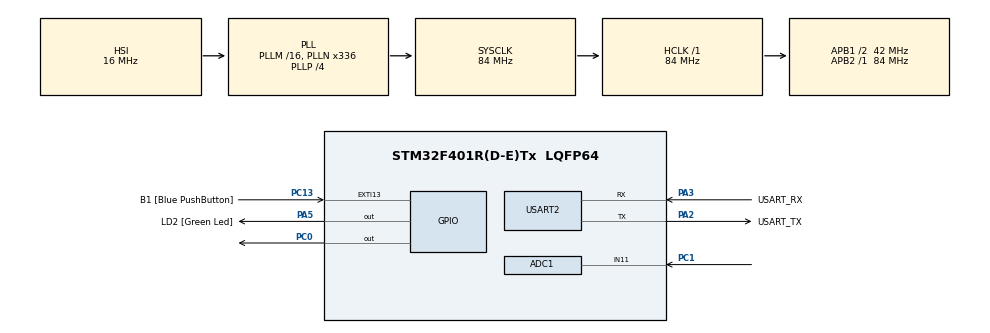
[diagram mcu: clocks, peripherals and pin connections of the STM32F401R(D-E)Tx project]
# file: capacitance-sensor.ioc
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ADC1.Channel-0\#ChannelRegularConversion=ADC_CHANNEL_11
ADC1.ContinuousConvMode=ENABLE
ADC1.NbrOfConversionFlag=1
ADC1.Rank-0\#ChannelRegularConversion=1
ADC1.SamplingTime-0\#ChannelRegularConversion=ADC_SAMPLETIME_3CYCLES
ADC1.master=1
FREERTOS.Tasks01=defaultTask,24,128,StartDefaultTask,Default,NULL,Dynamic,NULL,NULL
FREERTOS.configUSE_NEWLIB_REENTRANT=1
Mcu.Family=STM32F4
Mcu.Name=STM32F401R(D-E)Tx
Mcu.Package=LQFP64
NVIC.ADC_IRQn=true\:5\:0\:false\:false\:true\:true\:true\:true\:true
NVIC.PriorityGroup=NVIC_PRIORITYGROUP_4
NVIC.TIM1_BRK_TIM9_IRQn=true\:15\:0\:false\:false\:true\:false\:false\:true\:true
NVIC.TimeBase=TIM1_BRK_TIM9_IRQn
NVIC.TimeBaseIP=TIM9
PA13.GPIO_Label=TMS
PA13.Mode=Trace_Asynchronous_SW
PA13.Signal=SYS_JTMS-SWDIO
PA14.GPIO_Label=TCK
PA14.Mode=Trace_Asynchronous_SW
PA14.Signal=SYS_JTCK-SWCLK
PA2.GPIO_Label=USART_TX
PA2.GPIO_Mode=GPIO_MODE_AF_PP
PA2.GPIO_PuPd=GPIO_NOPULL
PA2.GPIO_Speed=GPIO_SPEED_FREQ_LOW
PA2.Mode=Asynchronous
PA2.Signal=USART2_TX
PA3.GPIO_Label=USART_RX
PA3.GPIO_Mode=GPIO_MODE_AF_PP
PA3.GPIO_PuPd=GPIO_NOPULL
PA3.GPIO_Speed=GPIO_SPEED_FREQ_LOW
PA3.Mode=Asynchronous
PA3.Signal=USART2_RX
PA5.GPIO_Label=LD2 [Green Led]
PA5.GPIO_Mode=GPIO_MODE_OUTPUT_PP
PA5.GPIO_PuPd=GPIO_NOPULL
PA5.GPIO_Speed=GPIO_SPEED_FREQ_LOW
PA5.Signal=GPIO_Output
PB3.GPIO_Label=SWO
PB3.Mode=Trace_Asynchronous_SW
PB3.Signal=SYS_JTDO-SWO
PC0.Signal=GPIO_Output
PC1.Signal=SharedAnalog_PC1
PC13-ANTI_TAMP.GPIO_Label=B1 [Blue PushButton]
PC13-ANTI_TAMP.GPIO_ModeDefaultEXTI=GPIO_MODE_IT_FALLING
PC13-ANTI_TAMP.GPIO_PuPd=GPIO_NOPULL
PC13-ANTI_TAMP.Signal=GPXTI13
PC14-OSC32_IN.Mode=LSE-External-Oscillator
PC14-OSC32_IN.Signal=RCC_OSC32_IN
PC15-OSC32_OUT.Mode=LSE-External-Oscillator
PC15-OSC32_OUT.Signal=RCC_OSC32_OUT
PH0\ -\ OSC_IN.Mode=HSE-External-Clock-Source
PH0\ -\ OSC_IN.Signal=RCC_OSC_IN
PH1\ -\ OSC_OUT.Mode=HSE-External-Clock-Source
PH1\ -\ OSC_OUT.Signal=RCC_OSC_OUT
ProjectManager.HeapSize=0x200
ProjectManager.StackSize=0x400
ProjectManager.TargetToolchain=STM32CubeIDE
RCC.48MHZClocksFreq_Value=48000000
RCC.AHBFreq_Value=84000000
RCC.APB1CLKDivider=RCC_HCLK_DIV2
RCC.APB1Freq_Value=42000000
RCC.APB1TimFreq_Value=84000000
RCC.APB2Freq_Value=84000000
RCC.APB2TimFreq_Value=84000000
RCC.CortexFreq_Value=84000000
RCC.HCLKFreq_Value=84000000
RCC.HSE_VALUE=8000000
RCC.HSI_VALUE=16000000
RCC.PLLN=336
RCC.PLLP=RCC_PLLP_DIV4
RCC.PLLQ=7
RCC.SYSCLKFreq_VALUE=84000000
RCC.SYSCLKSource=RCC_SYSCLKSOURCE_PLLCLK
RCC.VCOOutputFreq_Value=336000000
SH.SharedAnalog_PC1.0=GPIO_Analog
SH.SharedAnalog_PC1.1=ADC1_IN11,IN11
USART2.VirtualMode=VM_ASYNC
VP_FREERTOS_VS_CMSIS_V2.Mode=CMSIS_V2
VP_SYS_VS_tim9.Mode=TIM9
board=NUCLEO-F401RE

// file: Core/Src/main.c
/* USER CODE BEGIN Header */
/**
  ******************************************************************************
  * @file           : main.c
  * @brief          : Main program body
  ******************************************************************************
  * @attention
  *
  * Copyright (c) 2025 STMicroelectronics.
  * All rights reserved.
  *
  * This software is licensed under terms that can be found in the LICENSE file
  * in the root directory of this software component.
  * If no LICENSE file comes with this software, it is provided AS-IS.
  *
  ******************************************************************************
  */
/* USER CODE END Header */
#include "main.h"
#include "cmsis_os.h"
#include "sensing.h"
#include "adc_it.h"

ADC_HandleTypeDef hadc1;

UART_HandleTypeDef huart2;

/* Definitions for defaultTask */
osThreadId_t default_task_handle;
const osThreadAttr_t default_task_attributes = {
  .name = "defaultTask",
  .stack_size = 128 * 4,
  .priority = (osPriority_t) osPriorityNormal,
};
/* USER CODE BEGIN PV */
/* Definitions for sensing task */
osThreadId_t sensing_task_handle;
const osThreadAttr_t sensing_task_attributes = {
    .name = "sensing",
    .priority = (osPriority_t) osPriorityNormal,
    .stack_size = 128 * 4  // Stack size in bytes
};
osSemaphoreId_t adc_data_ready_semaphore;
osSemaphoreAttr_t adc_data_ready_attr = {
    .name = "adc_data_ready",
	.attr_bits = 0,
	.cb_mem = NULL,
	.cb_size = 0
};

/* USER CODE END PV */

void SystemClock_Config(void);
static void MX_GPIO_Init(void);
static void MX_USART2_UART_Init(void);
static void MX_ADC1_Init(void);
void StartDefaultTask(void *argument);

int main(void)
{

  /* MCU Configuration--------------------------------------------------------*/

  /* Reset of all peripherals, Initializes the Flash interface and the Systick. */
  HAL_Init();

  /* Configure the system clock */
  SystemClock_Config();

  /* Initialize all configured peripherals */
  MX_GPIO_Init();
  MX_USART2_UART_Init();
  MX_ADC1_Init();

  /* Init scheduler */
  osKernelInitialize();

  /* USER CODE BEGIN RTOS_SEMAPHORES */
  adc_data_ready_semaphore = osSemaphoreNew(1, 1, &adc_data_ready_attr);
  /* USER CODE END RTOS_SEMAPHORES */

  /* Create the thread(s) */
  /* creation of defaultTask */
  default_task_handle = osThreadNew(StartDefaultTask, NULL, &default_task_attributes);

  /* USER CODE BEGIN RTOS_THREADS */

  adc_config adc_config_attr = {
      .high_voltage = 3.2,
      .low_voltage = 0.1,
      .semaphore = adc_data_ready_semaphore,
      .hadc = &hadc1
  };
  init_adc_it(adc_config_attr);
  sensing_task_handle = osThreadNew(sensing_task, NULL, &sensing_task_attributes);
  /* USER CODE END RTOS_THREADS */

  /* Start scheduler */
  osKernelStart();

  /* We should never get here as control is now taken by the scheduler */

  /* Infinite loop */
  while (1)
  {

  }
}

void SystemClock_Config(void)
{
  RCC_OscInitTypeDef RCC_OscInitStruct = {0};
  RCC_ClkInitTypeDef RCC_ClkInitStruct = {0};

  /** Configure the main internal regulator output voltage
  */
  __HAL_RCC_PWR_CLK_ENABLE();
  __HAL_PWR_VOLTAGESCALING_CONFIG(PWR_REGULATOR_VOLTAGE_SCALE2);

  /** Initializes the RCC Oscillators according to the specified parameters
  * in the RCC_OscInitTypeDef structure.
  */
  RCC_OscInitStruct.OscillatorType = RCC_OSCILLATORTYPE_HSI;
  RCC_OscInitStruct.HSIState = RCC_HSI_ON;
  RCC_OscInitStruct.HSICalibrationValue = RCC_HSICALIBRATION_DEFAULT;
  RCC_OscInitStruct.PLL.PLLState = RCC_PLL_ON;
  RCC_OscInitStruct.PLL.PLLSource = RCC_PLLSOURCE_HSI;
  RCC_OscInitStruct.PLL.PLLM = 16;
  RCC_OscInitStruct.PLL.PLLN = 336;
  RCC_OscInitStruct.PLL.PLLP = RCC_PLLP_DIV4;
  RCC_OscInitStruct.PLL.PLLQ = 7;
  if (HAL_RCC_OscConfig(&RCC_OscInitStruct) != HAL_OK)
  {
    Error_Handler();
  }

  /** Initializes the CPU, AHB and APB buses clocks
  */
  RCC_ClkInitStruct.ClockType = RCC_CLOCKTYPE_HCLK|RCC_CLOCKTYPE_SYSCLK
                              |RCC_CLOCKTYPE_PCLK1|RCC_CLOCKTYPE_PCLK2;
  RCC_ClkInitStruct.SYSCLKSource = RCC_SYSCLKSOURCE_PLLCLK;
  RCC_ClkInitStruct.AHBCLKDivider = RCC_SYSCLK_DIV1;
  RCC_ClkInitStruct.APB1CLKDivider = RCC_HCLK_DIV2;
  RCC_ClkInitStruct.APB2CLKDivider = RCC_HCLK_DIV1;

  if (HAL_RCC_ClockConfig(&RCC_ClkInitStruct, FLASH_LATENCY_2) != HAL_OK)
  {
    Error_Handler();
  }
}

static void MX_ADC1_Init(void)
{

  ADC_ChannelConfTypeDef sConfig = {0};

  /** Configure the global features of the ADC (Clock, Resolution, Data Alignment and number of conversion)
  */
  hadc1.Instance = ADC1;
  hadc1.Init.ClockPrescaler = ADC_CLOCK_SYNC_PCLK_DIV4;
  hadc1.Init.Resolution = ADC_RESOLUTION_12B;
  hadc1.Init.ScanConvMode = DISABLE;
  hadc1.Init.ContinuousConvMode = ENABLE;
  hadc1.Init.DiscontinuousConvMode = DISABLE;
  hadc1.Init.ExternalTrigConvEdge = ADC_EXTERNALTRIGCONVEDGE_NONE;
  hadc1.Init.ExternalTrigConv = ADC_SOFTWARE_START;
  hadc1.Init.DataAlign = ADC_DATAALIGN_RIGHT;
  hadc1.Init.NbrOfConversion = 1;
  hadc1.Init.DMAContinuousRequests = DISABLE;
  hadc1.Init.EOCSelection = ADC_EOC_SINGLE_CONV;
  if (HAL_ADC_Init(&hadc1) != HAL_OK)
  {
    Error_Handler();
  }

  /** Configure for the selected ADC regular channel its corresponding rank in the sequencer and its sample time.
  */
  sConfig.Channel = ADC_CHANNEL_11;
  sConfig.Rank = 1;
  sConfig.SamplingTime = ADC_SAMPLETIME_3CYCLES;
  if (HAL_ADC_ConfigChannel(&hadc1, &sConfig) != HAL_OK)
  {
    Error_Handler();
  }

}

static void MX_USART2_UART_Init(void)
{

  huart2.Instance = USART2;
  huart2.Init.BaudRate = 115200;
  huart2.Init.WordLength = UART_WORDLENGTH_8B;
  huart2.Init.StopBits = UART_STOPBITS_1;
  huart2.Init.Parity = UART_PARITY_NONE;
  huart2.Init.Mode = UART_MODE_TX_RX;
  huart2.Init.HwFlowCtl = UART_HWCONTROL_NONE;
  huart2.Init.OverSampling = UART_OVERSAMPLING_16;
  if (HAL_UART_Init(&huart2) != HAL_OK)
  {
    Error_Handler();
  }

}

static void MX_GPIO_Init(void)
{
  GPIO_InitTypeDef GPIO_InitStruct = {0};

  /* GPIO Ports Clock Enable */
  __HAL_RCC_GPIOC_CLK_ENABLE();
  __HAL_RCC_GPIOH_CLK_ENABLE();
  __HAL_RCC_GPIOA_CLK_ENABLE();
  __HAL_RCC_GPIOB_CLK_ENABLE();

  /*Configure GPIO pin Output Level */
  HAL_GPIO_WritePin(GPIOC, GPIO_PIN_0, GPIO_PIN_RESET);

  /*Configure GPIO pin Output Level */
  HAL_GPIO_WritePin(LD2_GPIO_Port, LD2_Pin, GPIO_PIN_RESET);

  /*Configure GPIO pin : B1_Pin */
  GPIO_InitStruct.Pin = B1_Pin;
  GPIO_InitStruct.Mode = GPIO_MODE_IT_FALLING;
  GPIO_InitStruct.Pull = GPIO_NOPULL;
  HAL_GPIO_Init(B1_GPIO_Port, &GPIO_InitStruct);

  /*Configure GPIO pin : PC0 */
  GPIO_InitStruct.Pin = GPIO_PIN_0;
  GPIO_InitStruct.Mode = GPIO_MODE_OUTPUT_PP;
  GPIO_InitStruct.Pull = GPIO_NOPULL;
  GPIO_InitStruct.Speed = GPIO_SPEED_FREQ_LOW;
  HAL_GPIO_Init(GPIOC, &GPIO_InitStruct);

  /*Configure GPIO pin : LD2_Pin */
  GPIO_InitStruct.Pin = LD2_Pin;
  GPIO_InitStruct.Mode = GPIO_MODE_OUTPUT_PP;
  GPIO_InitStruct.Pull = GPIO_NOPULL;
  GPIO_InitStruct.Speed = GPIO_SPEED_FREQ_LOW;
  HAL_GPIO_Init(LD2_GPIO_Port, &GPIO_InitStruct);

}

void StartDefaultTask(void *argument)
{
  for(;;)
  {
    osDelay(1);
  }
}

void HAL_TIM_PeriodElapsedCallback(TIM_HandleTypeDef *htim)
{
  if (htim->Instance == TIM9) {
    HAL_IncTick();
  }
}

void Error_Handler(void)
{
  __disable_irq();
  while (1)
  {
  }
}
